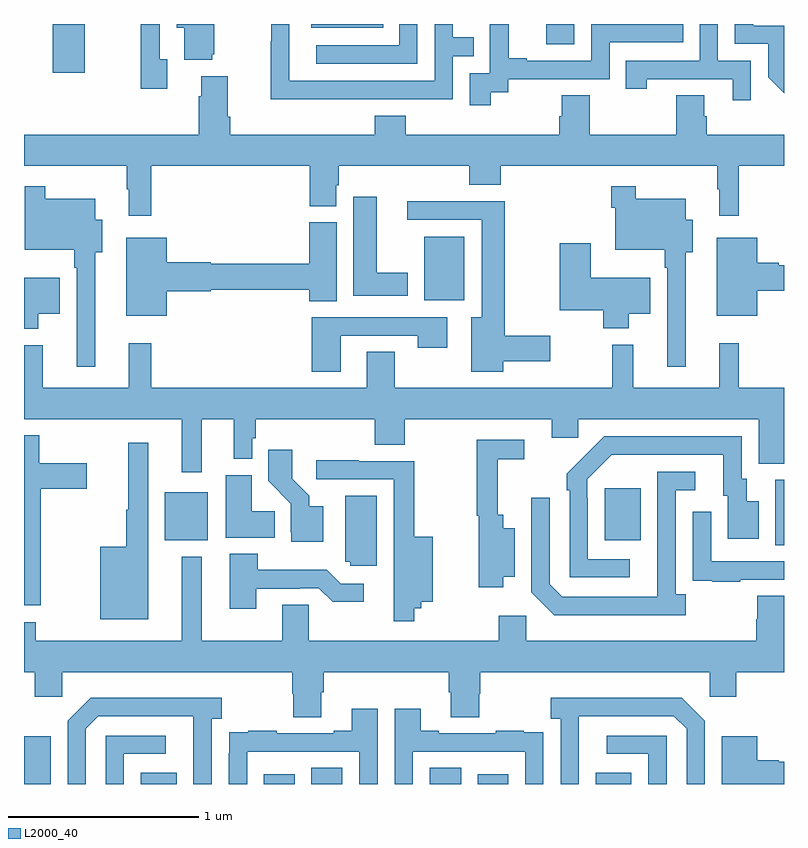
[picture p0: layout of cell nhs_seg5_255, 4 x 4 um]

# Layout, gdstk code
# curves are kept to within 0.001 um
import gdstk
lib = gdstk.Library(unit=1e-6, precision=1e-09)
def R(c, l, rs):  # rectangles x0, y0, x1, y1
    for r in rs: c.add(gdstk.rectangle(r[:2], r[2:], *l))
def P(c, l, *ps):  # polygons
    for p in ps: c.add(gdstk.Polygon(p, *l))
L2000_40 = (2000, 40)

nhs_seg5_255 = lib.new_cell('nhs_seg5_255')
R(nhs_seg5_255, L2000_40, [(125,894.799,125.14,895.051), (125.615,894.799,125.803,894.859), (126.263,894.799,126.424,894.85), (126.512,894.799,126.676,894.884), (127.136,894.799,127.3,894.884), (127.388,894.799,127.549,894.85), (128.009,894.799,128.197,894.859), (128.954,896.056,129,896.4), (125.741,896.081,125.968,896.335), (128.057,896.081,128.245,896.356), (127.106,897.344,127.318,897.679), (125.15,898.542,125.32,898.799), (127.749,898.692,127.896,898.799), (126.512,898.778,126.89,898.799), (126.111,898.797,126.207,898.799)])
P(nhs_seg5_255, L2000_40, [(126.761,898.404),(127.257,898.404),(127.257,898.629),(127.367,898.629),(127.367,898.73),(127.257,898.73),(127.257,898.799),(127.161,898.799),(127.161,898.5),(126.396,898.5),(126.396,898.799),(126.3,898.799),(126.3,898.709),(126.298,898.709),(126.298,898.403),(126.761,898.403)],
  [(125.99,898.641),(126.001,898.641),(126.001,898.799),(125.804,898.799),(125.804,898.778),(125.843,898.778),(125.843,898.61),(125.99,898.61)],
  [(127.071,898.799),(126.975,898.799),(126.975,898.686),(126.537,898.686),(126.537,898.59),(127.071,898.59)],
  [(125.755,898.614),(125.715,898.614),(125.715,898.799),(125.614,898.799),(125.614,898.458),(125.755,898.458)],
  [(127.456,898.441),(127.548,898.441),(127.548,898.509),(128.082,898.509),(128.082,898.704),(128.471,898.704),(128.471,898.799),(127.986,898.799),(127.986,898.605),(127.645,898.605),(127.645,898.618),(127.55,898.618),(127.55,898.799),(127.451,898.799),(127.451,898.769),(127.452,898.769),(127.452,898.539),(127.347,898.539),(127.347,898.371),(127.456,898.371)],
  [(128.826,898.605),(128.652,898.605),(128.652,898.799),(128.556,898.799),(128.556,898.605),(128.167,898.605),(128.167,898.458),(128.278,898.458),(128.278,898.509),(128.729,898.509),(128.729,898.398),(128.826,898.398)],
  [(129,898.791),(128.839,898.791),(128.839,898.799),(128.742,898.799),(128.742,898.695),(128.916,898.695),(128.916,898.518),(129,898.435)],
  [(125.669,898.052),(126.503,898.052),(126.503,897.841),(126.643,897.841),(126.643,897.951),(126.656,897.951),(126.656,898.052),(127.343,898.052),(127.343,897.953),(127.508,897.953),(127.508,898.052),(128.649,898.052),(128.649,897.929),(128.66,897.929),(128.66,897.789),(128.762,897.789),(128.762,898.052),(129,898.052),(129,898.216),(128.594,898.216),(128.594,898.314),(128.581,898.314),(128.581,898.424),(128.434,898.424),(128.434,898.216),(127.977,898.216),(127.977,898.424),(127.829,898.424),(127.829,898.314),(127.817,898.314),(127.817,898.216),(127.01,898.216),(127.01,898.315),(126.845,898.315),(126.845,898.216),(126.086,898.216),(126.086,898.312),(126.073,898.312),(126.073,898.525),(125.933,898.525),(125.933,898.418),(125.921,898.418),(125.921,898.216),(125,898.216),(125,898.052),(125.541,898.052),(125.541,897.929),(125.552,897.929),(125.552,897.789),(125.669,897.789)],
  [(125.374,897.599),(125.413,897.599),(125.413,897.769),(125.374,897.769),(125.374,897.88),(125.113,897.88),(125.113,897.946),(125.004,897.946),(125.004,897.611),(125.265,897.611),(125.265,897.515),(125.277,897.515),(125.277,896.994),(125.374,896.994)],
  [(128.482,897.599),(128.521,897.599),(128.521,897.769),(128.482,897.769),(128.482,897.88),(128.221,897.88),(128.221,897.946),(128.092,897.946),(128.092,897.833),(128.112,897.833),(128.112,897.611),(128.373,897.611),(128.373,897.515),(128.385,897.515),(128.385,896.994),(128.482,896.994)],
  [(127.021,897.49),(126.856,897.49),(126.856,897.889),(126.734,897.889),(126.734,897.368),(127.021,897.368)],
  [(127.522,897.023),(127.771,897.023),(127.771,897.158),(127.53,897.158),(127.53,897.866),(127.017,897.866),(127.017,897.768),(127.409,897.768),(127.409,897.256),(127.355,897.256),(127.355,896.97),(127.522,896.97)],
  [(125.752,897.392),(125.982,897.392),(125.982,897.4),(126.5,897.4),(126.5,897.34),(126.646,897.34),(126.646,897.756),(126.5,897.756),(126.5,897.536),(125.982,897.536),(125.982,897.544),(125.752,897.544),(125.752,897.673),(125.537,897.673),(125.537,897.263),(125.752,897.263)],
  [(128.86,897.395),(129,897.395),(129,897.529),(128.973,897.529),(128.973,897.542),(128.86,897.542),(128.86,897.673),(128.645,897.673),(128.645,897.263),(128.86,897.263)],
  [(128.182,897.275),(128.296,897.275),(128.296,897.463),(127.984,897.463),(127.984,897.646),(127.819,897.646),(127.819,897.293),(128.048,897.293),(128.048,897.197),(128.182,897.197)],
  [(125.074,897.275),(125.188,897.275),(125.188,897.463),(125,897.463),(125,897.194),(125.074,897.194)],
  [(126.667,897.159),(127.072,897.159),(127.072,897.096),(127.228,897.096),(127.228,897.255),(126.515,897.255),(126.515,896.97),(126.667,896.97)],
  [(125.935,896.72),(126.104,896.72),(126.104,896.51),(126.201,896.51),(126.201,896.619),(126.221,896.619),(126.221,896.72),(126.845,896.72),(126.845,896.584),(127.005,896.584),(127.005,896.72),(127.778,896.72),(127.778,896.622),(127.917,896.622),(127.917,896.72),(128.867,896.72),(128.867,896.485),(129,896.485),(129,896.884),(128.762,896.884),(128.762,897.118),(128.66,897.118),(128.66,896.884),(128.207,896.884),(128.207,897.112),(128.097,897.112),(128.097,896.884),(126.951,896.884),(126.951,897.074),(126.803,897.074),(126.803,896.884),(125.669,896.884),(125.669,897.118),(125.552,897.118),(125.552,896.884),(125.099,896.884),(125.099,897.109),(125,897.109),(125,896.72),(125.831,896.72),(125.831,896.439),(125.935,896.439)],
  [(125.088,896.354),(125.329,896.354),(125.329,896.488),(125.08,896.488),(125.08,896.635),(125,896.635),(125,895.739),(125.088,895.739)],
  [(128.188,895.983),(127.968,895.983),(127.968,896.303),(127.965,896.303),(127.965,896.403),(128.094,896.532),(128.681,896.532),(128.681,896.316),(128.705,896.316),(128.705,896.091),(128.866,896.091),(128.866,896.287),(128.803,896.287),(128.803,896.406),(128.778,896.406),(128.778,896.628),(128.054,896.628),(127.857,896.433),(127.857,896.345),(127.872,896.345),(127.872,895.887),(128.188,895.887)],
  [(127.522,895.889),(127.582,895.889),(127.582,896.146),(127.522,896.146),(127.522,896.215),(127.493,896.215),(127.493,896.509),(127.633,896.509),(127.633,896.61),(127.383,896.61),(127.383,896.211),(127.394,896.211),(127.394,895.835),(127.522,895.835)],
  [(125.653,896.596),(125.549,896.596),(125.549,896.243),(125.539,896.243),(125.539,896.047),(125.402,896.047),(125.402,895.667),(125.653,895.667)],
  [(126.574,896.26),(126.502,896.26),(126.502,896.315),(126.412,896.405),(126.412,896.557),(126.286,896.557),(126.286,896.394),(126.405,896.275),(126.405,896.124),(126.407,896.124),(126.407,896.075),(126.574,896.075)],
  [(127.054,895.724),(127.091,895.724),(127.091,895.757),(127.15,895.757),(127.15,896.101),(127.054,896.101),(127.054,896.499),(126.761,896.499),(126.761,896.502),(126.537,896.502),(126.537,896.403),(126.945,896.403),(126.945,895.656),(127.054,895.656)],
  [(128.482,895.798),(128.43,895.798),(128.43,896.346),(128.533,896.346),(128.533,896.442),(128.334,896.442),(128.333,895.785),(127.833,895.785),(127.767,895.851),(127.767,896.305),(127.671,896.305),(127.671,895.809),(127.792,895.688),(128.482,895.688)],
  [(126.32,896.234),(126.199,896.234),(126.199,896.425),(126.062,896.425),(126.062,896.096),(126.32,896.096)],
  [(126.856,896.317),(126.692,896.317),(126.692,895.968),(126.717,895.968),(126.717,895.947),(126.856,895.947)],
  [(128.771,895.875),(129,895.875),(129,895.971),(128.616,895.971),(128.616,896.233),(128.52,896.233),(128.52,895.978),(128.521,895.978),(128.521,895.869),(128.623,895.869),(128.623,895.863),(128.771,895.863)],
  [(126.223,895.827),(126.452,895.827),(126.452,895.83),(126.552,895.83),(126.625,895.757),(126.787,895.757),(126.787,895.854),(126.666,895.854),(126.593,895.927),(126.231,895.927),(126.231,896.011),(126.083,896.011),(126.083,895.722),(126.223,895.722)],
  [(126.565,895.282),(126.578,895.282),(126.578,895.388),(127.235,895.388),(127.235,895.282),(127.247,895.282),(127.247,895.15),(127.395,895.15),(127.395,895.275),(127.4,895.275),(127.4,895.388),(128.61,895.388),(128.61,895.257),(128.749,895.257),(128.749,895.388),(129,895.388),(129,895.79),(128.86,895.79),(128.86,895.665),(128.855,895.665),(128.855,895.552),(127.644,895.552),(127.644,895.684),(127.498,895.684),(127.498,895.552),(126.498,895.552),(126.498,895.742),(126.359,895.742),(126.359,895.552),(125.935,895.552),(125.935,895.996),(125.831,895.996),(125.831,895.552),(125.061,895.552),(125.061,895.651),(125,895.651),(125,895.388),(125.056,895.388),(125.056,895.257),(125.202,895.257),(125.202,895.388),(126.413,895.388),(126.413,895.275),(126.418,895.275),(126.418,895.15),(126.565,895.15)],
  [(127.92,894.955),(127.921,895.155),(128.421,895.155),(128.487,895.089),(128.487,894.799),(128.583,894.799),(128.583,895.131),(128.462,895.252),(127.773,895.252),(127.773,895.142),(127.824,895.142),(127.824,894.799),(127.92,894.799)],
  [(125.325,895.089),(125.391,895.155),(125.891,895.155),(125.892,894.799),(125.988,894.799),(125.988,895.142),(126.04,895.142),(126.04,895.252),(125.35,895.252),(125.229,895.131),(125.229,894.799),(125.325,894.799)],
  [(126.174,894.969),(126.765,894.969),(126.765,894.799),(126.861,894.799),(126.861,895.195),(126.725,895.195),(126.725,895.078),(126.629,895.078),(126.629,895.065),(126.329,895.065),(126.329,895.078),(126.181,895.078),(126.181,895.071),(126.079,895.071),(126.079,894.962),(126.078,894.962),(126.078,894.799),(126.174,894.799)],
  [(127.047,894.969),(127.638,894.969),(127.638,894.799),(127.734,894.799),(127.734,894.962),(127.733,894.962),(127.733,895.071),(127.631,895.071),(127.631,895.078),(127.483,895.078),(127.483,895.065),(127.183,895.065),(127.183,895.078),(127.087,895.078),(127.087,895.195),(126.951,895.195),(126.951,894.799),(127.047,894.799)],
  [(128.382,895.053),(128.067,895.053),(128.067,894.957),(128.286,894.957),(128.286,894.799),(128.382,894.799)],
  [(125.526,894.957),(125.746,894.957),(125.746,895.053),(125.43,895.053),(125.43,894.799),(125.526,894.799)],
  [(129,894.916),(128.973,894.916),(128.973,894.924),(128.86,894.924),(128.86,895.051),(128.672,895.051),(128.672,894.799),(129,894.799)])

lib.write_gds('nhs_seg5_255.gds')
